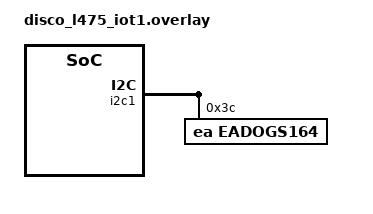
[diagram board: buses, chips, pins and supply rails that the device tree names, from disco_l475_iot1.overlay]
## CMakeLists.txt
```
# SPDX-License-Identifier: Apache-2.0

cmake_minimum_required(VERSION 3.13.1)
find_package(Zephyr REQUIRED HINTS $ENV{ZEPHYR_BASE})
project(eadogs164)

FILE(GLOB app_sources src/*.c)
target_sources(app PRIVATE ${app_sources})
```

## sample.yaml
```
#
# Copyright (c) 2020
#
# SPDX-License-Identifier: Apache-2.0
#

sample:
  name: EADOGS164 Display Sample
tests:
  sample.display.eadogs164:
    build_only: true
    platform_allow: disco_l475_iot1
    tags: display
```

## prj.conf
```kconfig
CONFIG_STDOUT_CONSOLE=y
CONFIG_I2C=y
CONFIG_EADOGS164_DISPLAY=y
CONFIG_PRINTK=y
CONFIG_DISPLAY=y
CONFIG_EADOGS164_DISPLAY_RAB2_0=3
CONFIG_EADOGS164_DISPLAY_ROM=2
```

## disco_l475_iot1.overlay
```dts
/*
 * Copyright (c) 2020
 *
 * SPDX-License-Identifier: Apache-2.0
 */

&i2c1 {
	eadogs164@3c {
		compatible = "ea,eadogs164";
		reg = <0x3C>;
		label = "EADOGS164";
	};
};
```

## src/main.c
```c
/*
 * Copyright (c) 2020
 *
 * SPDX-License-Identifier: Apache-2.0
 */

#include <zephyr.h>
#include <device.h>
#include <display/display_eadogs164.h>
#include <stdio.h>
#include <drivers/display.h>


void main(void)
{

	const struct device *dev = device_get_binding("EADOGS164");

	if (dev == NULL) {
		printf("Could not get EADOGS164 device\n");
		return;
	}
	int rc;
	struct display_buffer_descriptor desc;

	desc.buf_size = 11;
	char *buf_w = "HELLO WORLD";
	char buf_r[13];

	buf_r[12] = '\0';
	while (true) {
		rc = display_set_orientation(dev,
				DISPLAY_ORIENTATION_ORIENTATION_ROTATED_180);
		 /* set bottom view DISPLAY_ORIENTATION_ROTATED_180 */
		rc = display_write(dev, 0, 0, &desc, buf_w);
		rc = display_read(dev, 0, 0, &desc, buf_r);
		printk("data written: %s data read: %s\n", buf_w, buf_r+1);
		k_sleep(K_MSEC(5000));
	}
}
```
